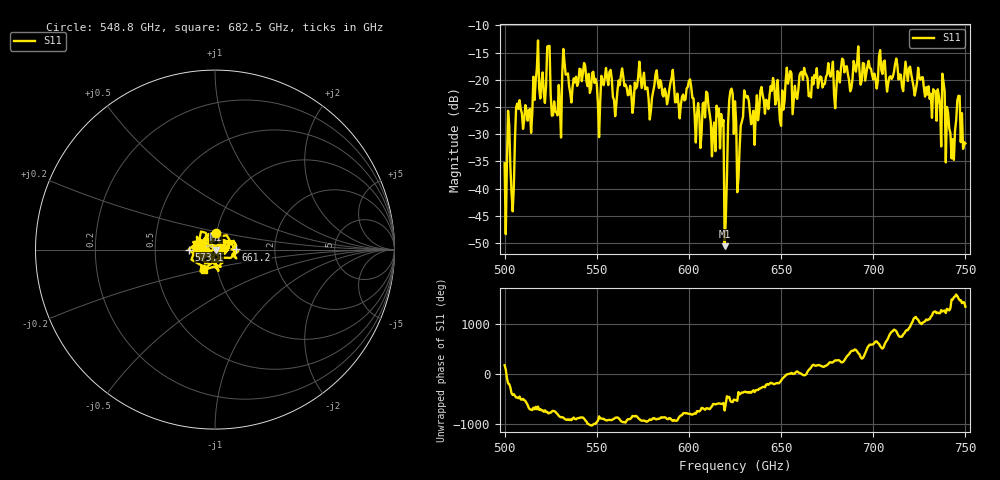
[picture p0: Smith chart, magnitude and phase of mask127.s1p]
!Created with skrf (http://scikit-rf.org).
# GHz S MA R 50.0
!freq magS11 angS11
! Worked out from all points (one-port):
!   401 points, 500 GHz to 750 GHz, reference 50 ohm
!   lowest |S11| = -50.6 dB at 619.4 GHz (marker M1), VSWR 1.01, Z = 50.3 - j0.0342 ohm
!   |S11| at or under -10 dB: start of sweep to end of sweep
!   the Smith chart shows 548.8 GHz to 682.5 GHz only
!   S11 on the Smith chart (normalised r, x): 548.8 GHz: 0.99, +0.19; 573.1 GHz: 0.74, +0.00; 661.2 GHz: 1.27, +0.00; 682.5 GHz: 0.86, -0.20
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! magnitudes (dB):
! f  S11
! 500 GHz  -35.4
! 504.4 GHz  -44.2
! 507.5 GHz  -25.4
! 513.8 GHz  -25.3
! 516.9 GHz  -20.0
! 523.8 GHz  -13.8
! 526.9 GHz  -24.0
! 531.2 GHz  -19.0
! 548.8 GHz  -20.6
! 562.5 GHz  -21.0
! 573.1 GHz  -16.7
! 593.8 GHz  -22.5
! 616.2 GHz  -25.3
! 619.4 GHz  -50.6
! 622.5 GHz  -22.1
! 625 GHz  -24.0
! 627.5 GHz  -32.5
! 631.2 GHz  -23.3
! 635 GHz  -25.7
! 656.2 GHz  -26.3
! 661.2 GHz  -18.5
! 682.5 GHz  -17.8
! 687.5 GHz  -22.1
! 718.8 GHz  -20.2
! 738.8 GHz  -22.2
! 742.5 GHz  -34.4
! 746.9 GHz  -23.0
! 750 GHz  -31.7
